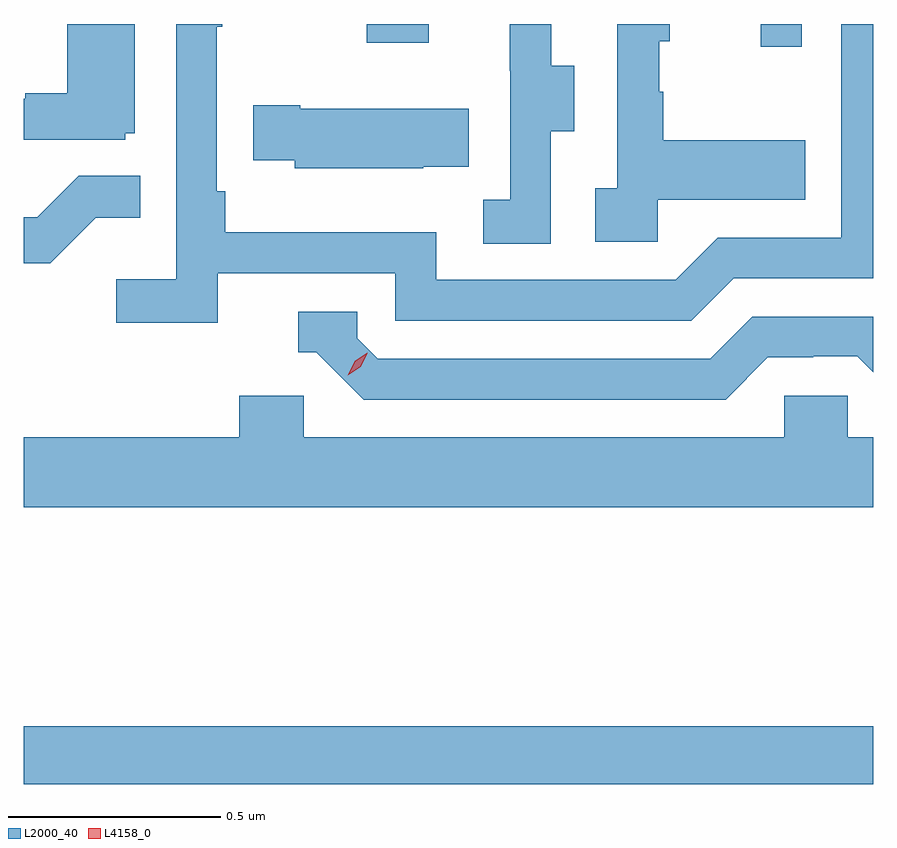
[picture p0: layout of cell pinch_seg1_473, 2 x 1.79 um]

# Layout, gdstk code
import gdstk
lib = gdstk.Library(unit=1e-6, precision=1e-09)
def R(c, l, rs):  # rectangles x0, y0, x1, y1
    for r in rs: c.add(gdstk.rectangle(r[:2], r[2:], *l))
def P(c, l, *ps):  # polygons
    for p in ps: c.add(gdstk.Polygon(p, *l))
L2000_40 = (2000, 40)
L4158_0 = (4158, 0)

pinch_seg1_473 = lib.new_cell('pinch_seg1_473')
R(pinch_seg1_473, L2000_40, [(998.629,503.128,1000.629,503.264), (1000.364,504.864,1000.461,504.917), (999.436,504.873,999.583,504.917)])
P(pinch_seg1_473, L2000_40, [(999.086,504.33),(999.504,504.33),(999.504,504.219),(1000.201,504.219),(1000.3,504.318),(1000.629,504.318),(1000.629,504.917),(1000.554,504.917),(1000.554,504.414),(1000.263,504.414),(1000.164,504.315),(999.6,504.315),(999.6,504.427),(999.104,504.427),(999.104,504.523),(999.084,504.523),(999.084,504.911),(999.097,504.911),(999.097,504.917),(998.988,504.917),(998.988,504.316),(998.847,504.316),(998.847,504.214),(999.086,504.214)],
  [(999.87,504.664),(999.925,504.664),(999.925,504.819),(999.871,504.819),(999.871,504.917),(999.773,504.917),(999.773,504.807),(999.774,504.807),(999.774,504.503),(999.711,504.503),(999.711,504.4),(999.87,504.4)],
  [(1000.122,504.503),(1000.469,504.503),(1000.469,504.643),(1000.135,504.643),(1000.135,504.758),(1000.125,504.758),(1000.125,504.876),(1000.15,504.876),(1000.15,504.917),(1000.026,504.917),(1000.026,504.53),(999.975,504.53),(999.975,504.405),(1000.122,504.405)],
  [(998.868,504.66),(998.89,504.66),(998.89,504.917),(998.732,504.917),(998.732,504.754),(998.633,504.754),(998.633,504.741),(998.629,504.741),(998.629,504.645),(998.868,504.645)],
  [(999.569,504.581),(999.677,504.581),(999.677,504.718),(999.28,504.718),(999.28,504.726),(999.169,504.726),(999.169,504.596),(999.267,504.596),(999.267,504.578),(999.569,504.578)],
  [(998.799,504.461),(998.903,504.461),(998.903,504.56),(998.759,504.56),(998.661,504.462),(998.629,504.462),(998.629,504.354),(998.692,504.354)],
  [(1000.381,504.132),(1000.488,504.132),(1000.488,504.135),(1000.591,504.135),(1000.629,504.097),(1000.629,504.228),(1000.344,504.228),(1000.245,504.129),(999.462,504.129),(999.414,504.177),(999.414,504.24),(999.275,504.24),(999.275,504.144),(999.318,504.144),(999.429,504.033),(1000.282,504.033)],
  [(1000.629,503.944),(1000.569,503.944),(1000.569,504.042),(1000.419,504.042),(1000.419,503.944),(999.288,503.944),(999.288,504.042),(999.137,504.042),(999.137,503.944),(998.629,503.944),(998.629,503.78),(1000.629,503.78)])
P(pinch_seg1_473, L4158_0, [(999.392,504.09),(999.392,504.09),(999.408,504.123),(999.438,504.143),(999.438,504.143),(999.438,504.142),(999.423,504.11),(999.392,504.09)])

lib.write_gds('pinch_seg1_473.gds')
